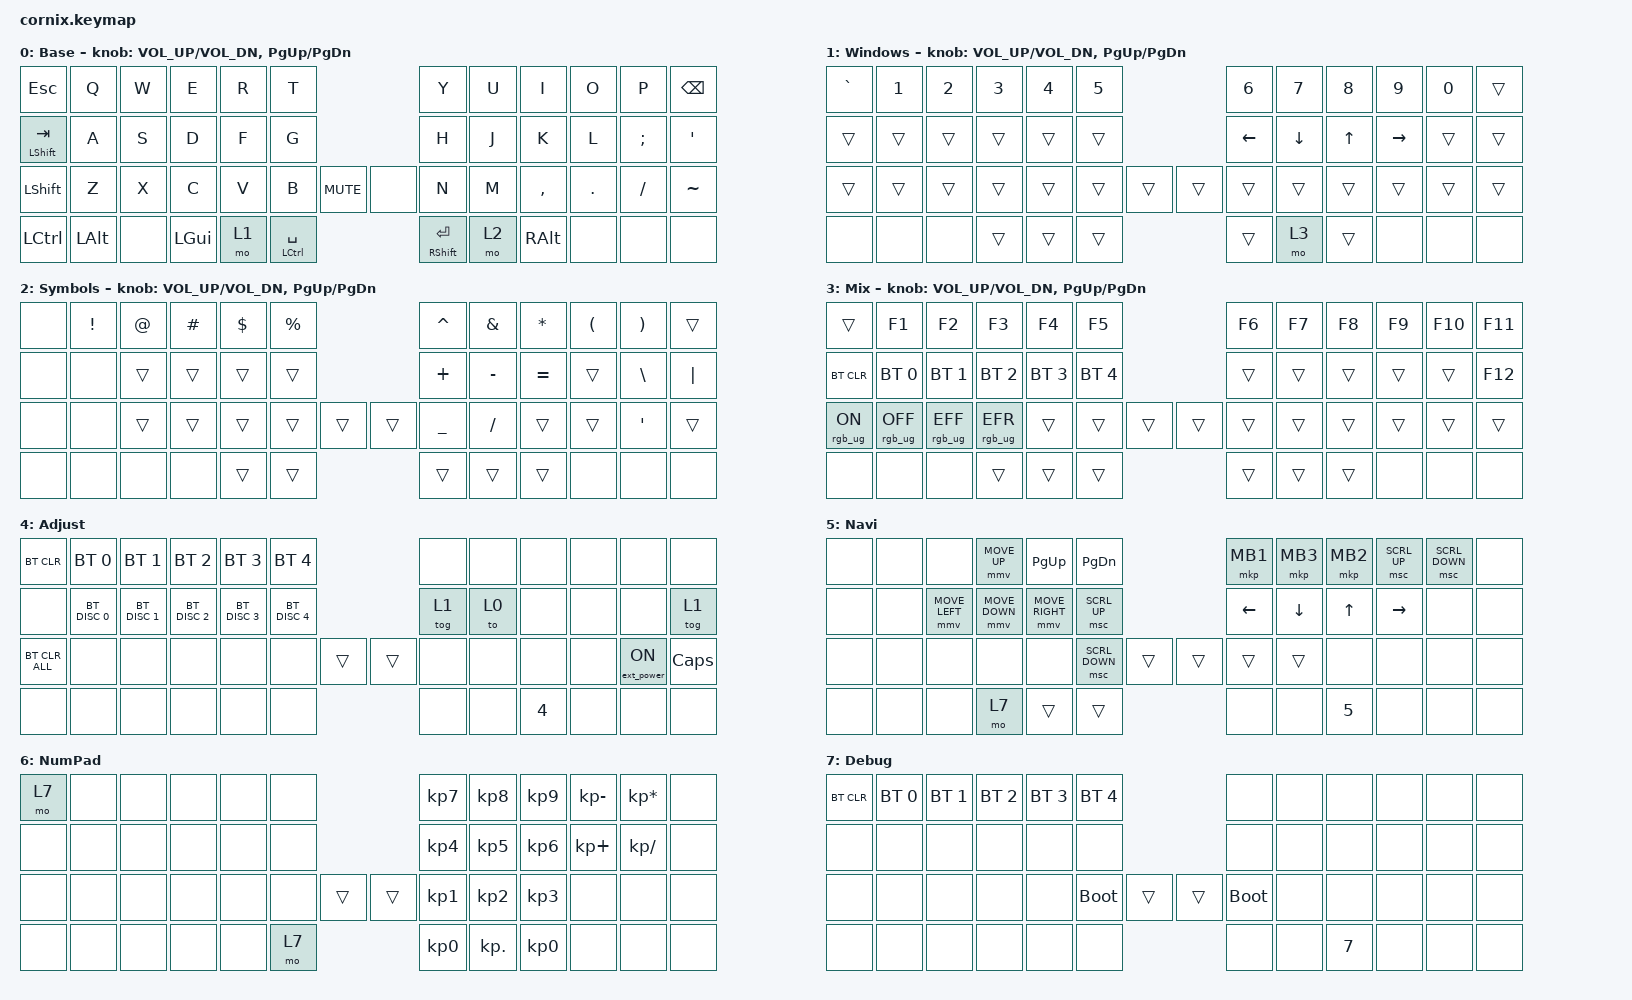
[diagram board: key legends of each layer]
/*
 * Copyright (c) 2020 The ZMK Contributors
 *
 * SPDX-License-Identifier: MIT
 */

#include "zmk-helpers/helper.h"
#include "includes/cornix54.h"

// tap windows for ctl alt and gui

#define HM_TAPPING_TERM 250
#define HM_TAPPING_REPEAT 210

// quick tapping for shift

#define HM_TAPPING_TERM_FAST 200
#define HM_PRIOR_IDLE 70
#define BASE 0
#define WIN 1
#define LOWER 2
#define RAISE 3
#define ADJUST 4
#define NAVI   5
#define NUM    6
#define DEBUG  7

// https://github.com/urob/zmk-config/tree/main#timeless-homerow-mods

#define KEYS_L LT0 LT1 LT2 LT3 LT4 LT5 LM0 LM1 LM2 LM3 LM4 LM5 LB0 LB1 LB2 LB3 LB4 LB5  // left hand
#define KEYS_R RT0 RT1 RT2 RT3 RT4 RT5 RM0 RM1 RM2 RM3 RM4 RM5 RB0 RB1 RB2 RB3 RB4 RB5  // right hand
#define THUMBS LH1 LH0 RH0 RH1
#define KEYS_T LH1 LH0 RH0 RH1
#define ZMK_POINTING_DEFAULT_SCRL_VAL 15

#include <behaviors.dtsi>
#include <dt-bindings/zmk/bt.h>
#include <dt-bindings/zmk/ext_power.h>
#include <dt-bindings/zmk/keys.h>
#include <dt-bindings/zmk/pointing.h>
#include <dt-bindings/zmk/rgb.h>

/ {
    // Activate ADJUST layer by pressing raise and lower

    behaviors {
        hm_l: homerow_mods_left {
            compatible = "zmk,behavior-hold-tap";
            #binding-cells = <2>;
            bindings = <&kp>, <&kp>;

            flavor = "balanced";
            tapping-term-ms = <HM_TAPPING_TERM>;
            quick-tap-ms = <200>;                // repeat on tap-into-hold
            require-prior-idle-ms = <HM_PRIOR_IDLE>;
            hold-trigger-key-positions = <KEYS_R KEYS_T>;
            hold-trigger-on-release;
        };

        hm_r: homerow_mods_right {
            compatible = "zmk,behavior-hold-tap";
            #binding-cells = <2>;
            bindings = <&kp>, <&kp>;

            flavor = "balanced";
            tapping-term-ms = <HM_TAPPING_TERM>;
            quick-tap-ms = <200>;
            require-prior-idle-ms = <HM_PRIOR_IDLE>;
            hold-trigger-key-positions = <KEYS_L KEYS_T>;
            hold-trigger-on-release;
        };

        // Positional Homerow mods for shift
        // Use faster tapping term and disable some features that may
        // cause false negatives.

        hm_shift_l: hm_shift_l {
            compatible = "zmk,behavior-hold-tap";
            #binding-cells = <2>;
            bindings = <&kp>, <&kp>;

            //flavor = "balanced";

            flavor = "balanced";
            tapping-term-ms = <HM_TAPPING_TERM_FAST>;
            quick-tap-ms = <200>;
            require-prior-idle-ms = <HM_PRIOR_IDLE>;
            hold-trigger-key-positions = <KEYS_R KEYS_T>;
            hold-trigger-on-release;
        };

        hm_shift_r: hm_shift_r {
            compatible = "zmk,behavior-hold-tap";
            #binding-cells = <2>;
            bindings = <&kp>, <&kp>;

            flavor = "balanced";
            tapping-term-ms = <HM_TAPPING_TERM_FAST>;
            quick-tap-ms = <200>;
            require-prior-idle-ms = <HM_PRIOR_IDLE>;
            hold-trigger-key-positions = <KEYS_L KEYS_T>;

            // for quick tapping; shift+~

            hold-trigger-on-release;
        };

        /*
         * Non-Positional Homerow Mods
         * Used for &mm_grescm_gui behavior on left hand.
         *
         * Usage: &hm LSHFT T
         * Tap: T
         * Tap-Tap-Hold: Repeat T
         * Hold: LSHIFT
         */

        hm: homerow_mods {
            compatible = "zmk,behavior-hold-tap";
            #binding-cells = <2>;
            bindings = <&kp>, <&kp>;

            flavor = "balanced";
            tapping-term-ms = <HM_TAPPING_TERM>;
            quick-tap-ms = <200>;
        };

        lt: layer_tap {
            compatible = "zmk,behavior-hold-tap";
            #binding-cells = <2>;
            bindings = <&mo>, <&kp>;

            flavor = "hold-preferred";
            tapping-term-ms = <HM_TAPPING_TERM>;
            quick-tap-ms = <200>;
        };
    };

    conditional_layers { compatible = "zmk,conditional-layers"; };

    combos {
        compatible = "zmk,combos";

        left_square_bracket {
            bindings = <&kp LEFT_BRACKET>;
            key-positions = <3 4>;
        };

        right_square_bracket {
            bindings = <&kp RIGHT_BRACKET>;
            key-positions = <4 5>;
        };

        left_parenthesis {
            bindings = <&kp LEFT_PARENTHESIS>;
            key-positions = <6 7>;
        };

        right_parenthesis {
            bindings = <&kp RIGHT_PARENTHESIS>;
            key-positions = <7 8>;
        };

        left_curly_bracket {
            bindings = <&kp LEFT_BRACE>;
            key-positions = <18 19>;
        };

        right_curly_bracket {
            bindings = <&kp RIGHT_BRACE>;
            key-positions = <19 20>;
        };
    };

    keymap {
        compatible = "zmk,keymap";

        default_layer {
            display-name = "Base";

            // ------------------------------------------------------------------------------------------------------------
            // |   `   |  1  |  2  |  3   |  4   |  5   |                   |  6   |  7    |  8    |  9   |   0   |       |
            // |  ESC  |  Q  |  W  |  E   |  R   |  T   |                   |  Y   |  U    |  I    |  O   |   P   | BKSPC |
            // |  TAB  |  A  |  S  |  D   |  F   |  G   |                   |  H   |  J    |  K    |  L   |   ;   |   '   |
            // | SHIFT |  Z  |  X  |  C   |  V   |  B   |  MUTE  |  |       |  N   |  M    |  ,    |  .   |   /   | SHIFT |
            //               | GUI | ALT  | CTRL | LOWER|  ENTER |  | SPACE | RAISE| CTRL  | ALT   | GUI  |

            bindings = <
&kp ESCAPE          &kp Q         &kp W  &kp E     &kp R  &kp T                                      &kp Y             &kp U  &kp I          &kp O    &kp P     &kp BSPC
&mt LEFT_SHIFT TAB  &kp A         &kp S  &kp D     &kp F  &kp G                                      &kp H             &kp J  &kp K          &kp L    &kp SEMI  &kp SQT
&kp LEFT_SHIFT      &kp Z         &kp X  &kp C     &kp V  &kp B                   &kp C_MUTE  &none  &kp N             &kp M  &kp COMMA      &kp DOT  &kp FSLH  &kp TILDE
&kp LCTRL           &kp LEFT_ALT  &none  &kp LGUI  &mo 1  &mt LEFT_CONTROL SPACE                     &mt RSHIFT ENTER  &mo 2  &kp RIGHT_ALT  &none    &none     &none
            >;

            sensor-bindings = <&inc_dec_kp C_VOL_UP C_VOL_DN &inc_dec_kp PG_UP PG_DN>;
        };

        win_layer {
            display-name = "Windows";

            // ------------------------------------------------------------------------------------------------------------
            // |   `   |  1  |  2  |  3   |  4   |  5   |                   |  6   |  7    |  8    |  9   |   0   |       |
            // |  ESC  |  Q  |  W  |  E   |  R   |  T   |                   |  Y   |  U    |  I    |  O   |   P   | BKSPC |
            // |  TAB  |  A  |  S  |  D   |  F   |  G   |                   |  H   |  J    |  K    |  L   |   ;   |   '   |
            // | SHIFT |  Z  |  X  |  C   |  V   |  B   |  MUTE  |  |       |  N   |  M    |  ,    |  .   |   /   | SHIFT |
            //               | GUI | ALT  | CTRL | LOWER|  ENTER |  | SPACE | RAISE| CTRL  | ALT   | GUI  |

            bindings = <
&kp GRAVE  &kp NUMBER_1  &kp NUMBER_2  &kp NUMBER_3  &kp NUMBER_4  &kp NUMBER_5                  &kp NUMBER_6  &kp NUMBER_7  &kp NUMBER_8  &kp NUMBER_9  &kp NUMBER_0  &trans
&trans     &trans        &trans        &trans        &trans        &trans                        &kp LEFT      &kp DOWN      &kp UP_ARROW  &kp RIGHT     &trans        &trans
&trans     &trans        &trans        &trans        &trans        &trans        &trans  &trans  &trans        &trans        &trans        &trans        &trans        &trans
&none      &none         &none         &trans        &trans        &trans                        &trans        &mo 3         &trans        &none         &none         &none
            >;

            sensor-bindings = <&inc_dec_kp C_VOL_UP C_VOL_DN &inc_dec_kp PG_UP PG_DN>;
        };

        Symbol_layer {
            display-name = "Symbols";

            // TODO: Some binds are waiting for shifted keycode support.
            // -------------------------------
            // |       |  F1 |  F2 |  F3  |  F4  |  F5  |                   |  F6  |  F7   |  F8   |  F9  |  F10  |  F11  |
            // |   `   |  1  |  2  |  3   |  4   |  5   |                   |  6   |  7    |  8    |  9   |   0   |  F12  |
            // |       |  !  |  @  |  #   |  $   |  %   |                   |  ^   |  &    |  *    |  (   |   )   |   |   |
            // |       |  =  |  -  |  +   |  {   |  }   |        |  |       |  [   |  ]    |  ;    |  :   |   \   |       |
            //               |     |      |      |      |        |  |       |      |       |       |      |

            bindings = <
&none  &kp EXCL  &kp AT  &kp HASH  &kp DLLR  &kp PRCNT                  &kp CARET       &kp AMPS   &kp ASTRK  &kp LPAR  &kp RPAR       &trans
&none  &none     &trans  &trans    &trans    &trans                     &kp PLUS        &kp MINUS  &kp EQUAL  &trans    &kp BACKSLASH  &kp PIPE
&none  &none     &trans  &trans    &trans    &trans     &trans  &trans  &kp UNDERSCORE  &kp SLASH  &trans     &trans    &kp SQT        &trans
&none  &none     &none   &none     &trans    &trans                     &trans          &trans     &trans     &none     &none          &none
            >;

            sensor-bindings = <&inc_dec_kp C_VOL_UP C_VOL_DN &inc_dec_kp PG_UP PG_DN>;
        };

        Mix_layer {
            display-name = "Mix";

            // ------------------------------------------------------------------------------------------------------------
            // | BTCLR | BT1  | BT2  |  BT3  |  BT4  |  BT5 |                |      |      |       |      |       |       |
            // |       | INS  | PSCR | GUI   |       |      |                | PGUP |      |   ^   |      |       |       |
            // |       | ALT  | CTRL | SHIFT |       | CAPS |                | PGDN |   <- |   v   |  ->  |  DEL  | BKSPC |
            // |       | UNDO | CUT  | COPY  | PASTE |      |      |  |      |      |      |       |      |       |       |
            //                |      |       |       |      |      |  |      |      |      |       |      |

            bindings = <
&trans          &kp F1           &kp F2           &kp F3           &kp F4        &kp F5                        &kp F6  &kp F7  &kp F8  &kp F9  &kp F10  &kp F11
&bt BT_CLR      &bt BT_SEL 0     &bt BT_SEL 1     &bt BT_SEL 2     &bt BT_SEL 3  &bt BT_SEL 4                  &trans  &trans  &trans  &trans  &trans   &kp F12
&rgb_ug RGB_ON  &rgb_ug RGB_OFF  &rgb_ug RGB_EFF  &rgb_ug RGB_EFR  &trans        &trans        &trans  &trans  &trans  &trans  &trans  &trans  &trans   &trans
&none           &none            &none            &trans           &trans        &trans                        &trans  &trans  &trans  &none   &none    &none
            >;

            sensor-bindings = <&inc_dec_kp C_VOL_UP C_VOL_DN &inc_dec_kp PG_UP PG_DN>;
        };

        Adjust_layer {
            display-name = "Adjust";

            // ----------------------------------------------------------------------------------------------------------------------------
            // | BTCLR  |  BT1    |  BT2    |   BT3   |   BT4   |   BT5   |                  |      |      |       |      |       |       |
            // | moDEBUG| RGB_HUD | RGB_HUI | RGB_SAD | RGB_SAI | RGB_EFF |                  |      |      |       |      |       |       |
            // | EXTPWR | RGB_BRD | RGB_BRI |         |         |         |                  |      |      |       |      |       |       |
            // |        |         |         |         |         |         | RGB_TOG | |      |      |      |       |      |       |       |
            //                    |         |         |         |         |         | |      |      |      |       |      |

            bindings = <
&bt BT_CLR      &bt BT_SEL 0   &bt BT_SEL 1   &bt BT_SEL 2   &bt BT_SEL 3   &bt BT_SEL 4                   &none   &none  &none   &none  &none             &none
&none           &bt BT_DISC 0  &bt BT_DISC 1  &bt BT_DISC 2  &bt BT_DISC 3  &bt BT_DISC 4                  &tog 1  &to 0  &none   &none  &none             &tog 1
&bt BT_CLR_ALL  &none          &none          &none          &none          &none          &trans  &trans  &none   &none  &none   &none  &ext_power EP_ON  &kp CAPSLOCK
&none           &none          &none          &none          &none          &none                          &none   &none  &kp N4  &none  &none             &none
            >;
        };

        Navi_layer {
            display-name = "Navi";
            bindings = <
&none  &none  &none           &mmv MOVE_UP    &kp PAGE_UP      &kp PAGE_DOWN                   &mkp MB1  &mkp MB3  &mkp MB2  &msc SCRL_UP  &msc SCRL_DOWN  &none
&none  &none  &mmv MOVE_LEFT  &mmv MOVE_DOWN  &mmv MOVE_RIGHT  &msc SCRL_UP                    &kp LEFT  &kp DOWN  &kp UP    &kp RIGHT     &none           &none
&none  &none  &none           &none           &none            &msc SCRL_DOWN  &trans  &trans  &trans    &trans    &none     &none         &none           &none
&none  &none  &none           &mo 7           &trans           &trans                          &none     &none     &kp N5    &none         &none           &none
            >;
        };

        KeyPad_layer {
            display-name = "NumPad";
            bindings = <
&mo 7  &none  &none  &none  &none  &none                  &kp KP_N7        &kp KP_N8        &kp KP_N9        &kp KP_MINUS  &kp KP_MULTIPLY  &none
&none  &none  &none  &none  &none  &none                  &kp KP_NUMBER_4  &kp KP_NUMBER_5  &kp KP_N6        &kp KP_PLUS   &kp KP_DIVIDE    &none
&none  &none  &none  &none  &none  &none  &trans  &trans  &kp KP_NUMBER_1  &kp KP_NUMBER_2  &kp KP_N3        &none         &none            &none
&none  &none  &none  &none  &none  &mo 7                  &kp KP_N0        &kp KP_DOT       &kp KP_NUMBER_0  &none         &none            &none
            >;
        };

        Debug_layer {
            display-name = "Debug";

            // ----------------------------------------------------------------------------------------------------------------------------
            // | BTCLR  |  BT1    |  BT2    |   BT3   |   BT4   |   BT5   |                  |      |      |       |      |       |       |
            // | EXTPWR | BTCLR | RGB_HUI | RGB_SAD | RGB_SAI | RGB_EFF |                  |      |      |       |      |       |       |
            // |        | RGB_BRD | RGB_BRI |         |         |         |                  |      |      |       |      |       |       |
            // |        |         |         |         |         |         | RGB_TOG | |      |      |      |       |      |       |       |
            //                    |         |         |         |         |         | |      |      |      |       |      |

            bindings = <
&bt BT_CLR  &bt BT_SEL 0  &bt BT_SEL 1  &bt BT_SEL 2  &bt BT_SEL 3  &bt BT_SEL 4                  &none        &none  &none   &none  &none  &none
&none       &none         &none         &none         &none         &none                         &none        &none  &none   &none  &none  &none
&none       &none         &none         &none         &none         &bootloader   &trans  &trans  &bootloader  &none  &none   &none  &none  &none
&none       &none         &none         &none         &none         &none                         &none        &none  &kp N7  &none  &none  &none
            >;
        };
    };
};
